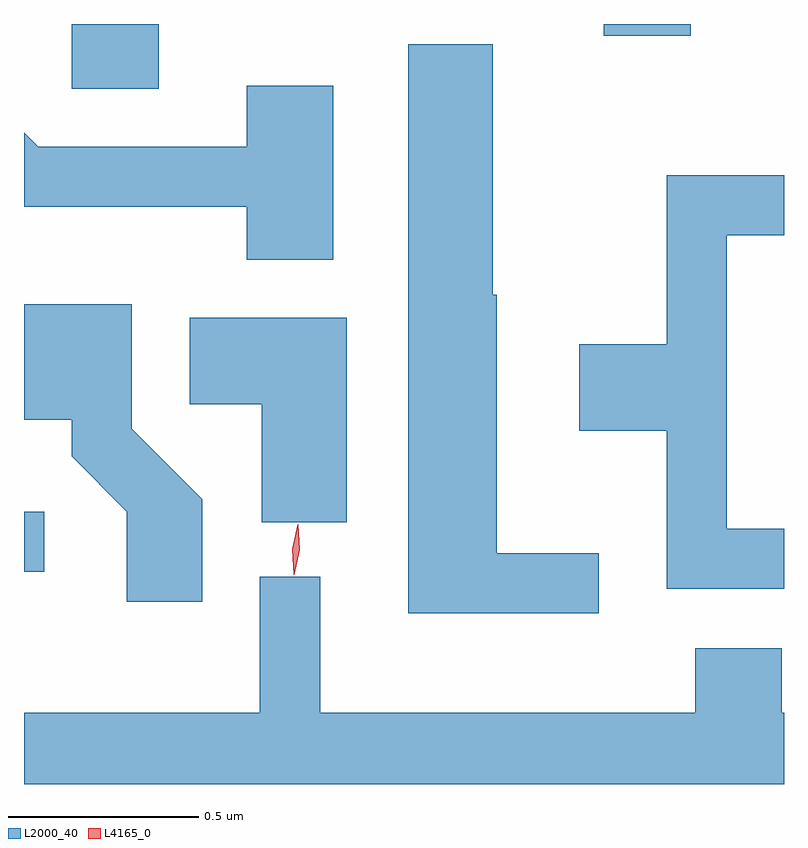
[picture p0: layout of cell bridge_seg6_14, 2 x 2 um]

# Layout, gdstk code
import gdstk
lib = gdstk.Library(unit=1e-6, precision=1e-09)
def R(c, l, rs):  # rectangles x0, y0, x1, y1
    for r in rs: c.add(gdstk.rectangle(r[:2], r[2:], *l))
def P(c, l, *ps):  # polygons
    for p in ps: c.add(gdstk.Polygon(p, *l))
L2000_40 = (2000, 40)
L4165_0 = (4165, 0)

bridge_seg6_14 = lib.new_cell('bridge_seg6_14')
R(bridge_seg6_14, L2000_40, [(1459.705,1583.976,1459.758,1584.134), (1459.831,1585.246,1460.059,1585.417), (1461.231,1585.386,1461.459,1585.417)])
P(bridge_seg6_14, L2000_40, [(1461.218,1584.024),(1460.949,1584.024),(1460.949,1584.705),(1460.939,1584.705),(1460.939,1585.364),(1460.716,1585.364),(1460.716,1583.866),(1461.218,1583.866)],
  [(1460.519,1585.254),(1460.291,1585.254),(1460.291,1585.094),(1459.742,1585.094),(1459.705,1585.131),(1459.705,1584.936),(1460.291,1584.936),(1460.291,1584.796),(1460.519,1584.796)],
  [(1461.705,1584.089),(1461.554,1584.089),(1461.554,1584.861),(1461.705,1584.861),(1461.705,1585.019),(1461.396,1585.019),(1461.396,1584.574),(1461.166,1584.574),(1461.166,1584.346),(1461.396,1584.346),(1461.396,1583.931),(1461.705,1583.931)],
  [(1460.174,1584.167),(1459.989,1584.352),(1459.989,1584.679),(1459.706,1584.679),(1459.706,1584.376),(1459.831,1584.376),(1459.831,1584.279),(1459.976,1584.134),(1459.976,1583.896),(1460.174,1583.896)],
  [(1460.554,1584.644),(1460.141,1584.644),(1460.141,1584.416),(1460.331,1584.416),(1460.331,1584.106),(1460.554,1584.106)],
  [(1461.705,1583.604),(1461.699,1583.604),(1461.699,1583.774),(1461.471,1583.774),(1461.471,1583.604),(1460.484,1583.604),(1460.484,1583.963),(1460.326,1583.963),(1460.326,1583.604),(1459.705,1583.604),(1459.705,1583.417),(1461.705,1583.417)])
P(bridge_seg6_14, L4165_0, [(1460.415,1583.968),(1460.411,1584.035),(1460.426,1584.1),(1460.426,1584.1),(1460.427,1584.1),(1460.431,1584.033),(1460.416,1583.968),(1460.416,1583.968)])

lib.write_gds('bridge_seg6_14.gds')
